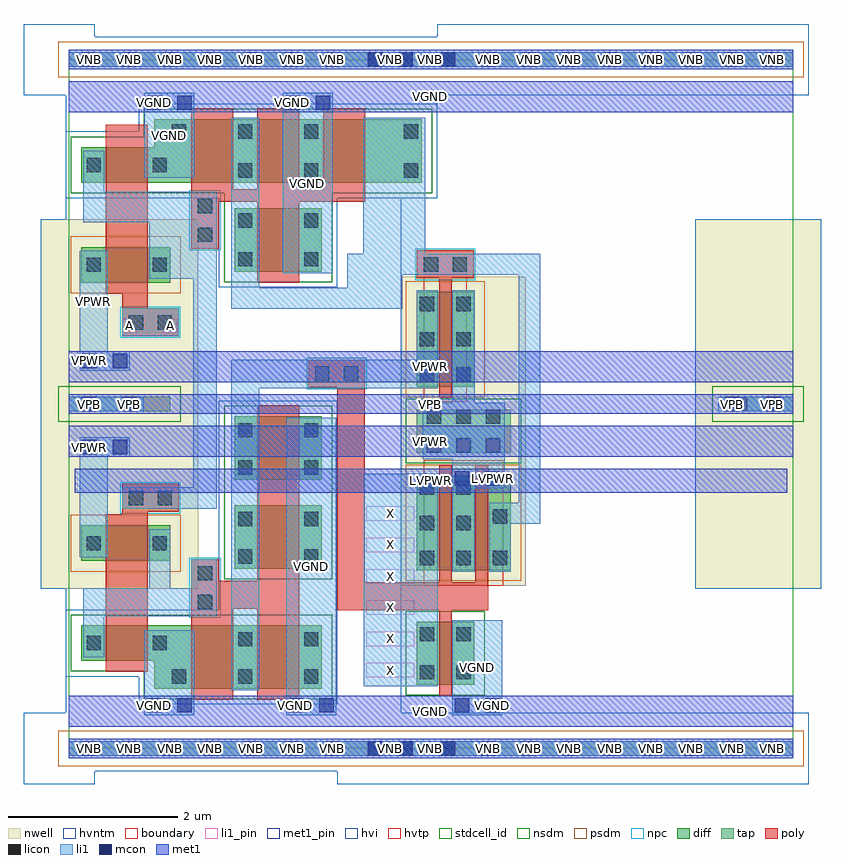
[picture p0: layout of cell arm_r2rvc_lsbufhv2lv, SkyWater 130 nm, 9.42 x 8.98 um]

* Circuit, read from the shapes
.subckt arm_r2rvc_lsbufhv2lv A LVPWR VGND VNB VPB VPWR X
XM1 VGND n1 n2 VNB sky130_fd_pr__nfet_g5v0d10v5 w=0.42 l=0.5
XM2 VGND A n1 VNB sky130_fd_pr__nfet_g5v0d10v5 w=0.42 l=0.5
XM3 n3 n2 VGND VNB sky130_fd_pr__nfet_g5v0d10v5 w=0.75 l=0.5 m=4
XM4 n4 n1 VGND VNB sky130_fd_pr__nfet_g5v0d10v5 w=0.75 l=0.5 m=4
XM5 VGND n3 X VNB sky130_fd_pr__nfet_01v8 w=0.74 l=0.15
XM6 n2 n1 VPWR VPB sky130_fd_pr__pfet_g5v0d10v5 w=0.42 l=0.5
XM7 n1 A VPWR VPB sky130_fd_pr__pfet_g5v0d10v5 w=0.42 l=0.5
XM8 LVPWR n3 X LVPWR sky130_fd_pr__pfet_01v8_hvt w=1.12 l=0.15
XM9 LVPWR n4 n3 LVPWR sky130_fd_pr__pfet_01v8_hvt w=1.12 l=0.15
XM10 n4 n3 LVPWR LVPWR sky130_fd_pr__pfet_01v8_hvt w=1.12 l=0.15
.ends

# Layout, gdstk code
import gdstk
lib = gdstk.Library(unit=1e-6, precision=1e-09)
def R(c, l, rs):  # rectangles x0, y0, x1, y1
    for r in rs: c.add(gdstk.rectangle(r[:2], r[2:], *l))
def A(c, l, x, y, w, h, nx, ny, dx, dy):  # array of equal rectangles
    R(c, l, [(x+i*dx, y+j*dy, x+i*dx+w, y+j*dy+h) for i in range(nx) for j in range(ny)])
nwell = (64, 20)
diff = (65, 20)
tap = (65, 44)
poly = (66, 20)
licon = (66, 44)
li1_pin = (67, 16)
li1 = (67, 20)
mcon = (67, 44)
met1_pin = (68, 16)
met1 = (68, 20)
hvi = (75, 20)
hvtp = (78, 44)
stdcell_id = (81, 4)
nsdm = (93, 44)
psdm = (94, 20)
npc = (95, 20)
hvntm = (125, 20)
boundary = (235, 4)

arm_r2rvc_lsbufhv2lv = lib.new_cell('arm_r2rvc_lsbufhv2lv')
R(arm_r2rvc_lsbufhv2lv, nwell, [(-0.33,1.885,1.53,6.255), (7.4,1.885,8.89,6.255), (3.93,1.925,5.4,5.575)])
R(arm_r2rvc_lsbufhv2lv, diff, [(1.01,0.705,2.99,1.035), (4.11,0.755,4.79,1.495), (0.15,1.035,2.99,1.455), (4.11,2.105,5.22,3.225), (1.96,2.125,2.99,2.875), (0.15,2.215,1.2,2.635), (1.96,3.175,2.99,3.925), (4.11,4.275,4.79,5.395), (0.15,5.505,1.2,5.925), (1.96,5.635,2.99,6.385), (0.15,6.685,4.17,7.105), (1.01,7.105,4.17,7.435)])
R(arm_r2rvc_lsbufhv2lv, tap, [(0,-0.085,8.56,0.085), (4.11,3.495,5.22,4.005), (0,3.985,1.2,4.155), (7.73,3.985,8.56,4.155), (0,8.055,8.56,8.225)])
A(arm_r2rvc_lsbufhv2lv, poly, 1.445, 6.61, 0.5, 0.955, 3, 1, 0.78, 0)
R(arm_r2rvc_lsbufhv2lv, poly, [(1.445,0.575,1.945,1.65), (2.225,0.575,2.725,1.65), (4.375,0.625,4.525,1.635), (0.435,0.905,0.935,2.765), (3.17,1.635,4.955,1.965), (1.445,1.65,2.725,1.98), (3.17,1.965,3.5,4.265), (4.375,1.965,4.525,3.355), (4.805,1.965,4.955,3.355), (1.445,1.98,1.775,2.235), (2.225,1.98,2.725,4.055), (0.63,2.765,0.935,2.795), (0.63,2.795,1.3,3.125), (4.375,4.145,4.525,5.555), (2.83,4.265,3.5,4.595), (0.63,4.87,1.3,5.2), (0.63,5.2,0.935,5.375), (0.435,5.375,0.935,7.37), (2.225,5.505,2.725,6.46), (4.115,5.555,4.785,5.885), (1.445,5.905,1.775,6.46), (1.445,6.46,3.505,6.61)])
A(arm_r2rvc_lsbufhv2lv, licon, 0.155, -0.085, 0.17, 0.17, 7, 2, 0.48, 8.14)
A(arm_r2rvc_lsbufhv2lv, licon, 4.395, -0.085, 0.17, 0.17, 9, 2, 0.48, 8.14)
A(arm_r2rvc_lsbufhv2lv, licon, 1.22, 0.765, 0.17, 0.17, 3, 2, 0.78, 6.44)
A(arm_r2rvc_lsbufhv2lv, licon, 4.15, 2.165, 0.17, 0.17, 3, 1, 0.43, 0)
A(arm_r2rvc_lsbufhv2lv, licon, 4.23, 3.495, 0.17, 0.17, 3, 2, 0.35, 0.34)
A(arm_r2rvc_lsbufhv2lv, licon, 4.15, 4.335, 0.17, 0.17, 1, 3, 0, 0.415)
A(arm_r2rvc_lsbufhv2lv, licon, 4.58, 4.335, 0.17, 0.17, 1, 3, 0, 0.415)
R(arm_r2rvc_lsbufhv2lv, licon, [(3.545,-0.085,3.715,0.085), (3.885,-0.085,4.055,0.085), (4.15,0.815,4.32,0.985), (4.58,0.815,4.75,0.985), (0.21,1.16,0.38,1.33), (0.99,1.16,1.16,1.33), (2,1.205,2.17,1.375), (2.78,1.205,2.95,1.375), (4.15,1.265,4.32,1.435), (4.58,1.265,4.75,1.435), (1.525,1.645,1.695,1.815), (1.525,1.985,1.695,2.155), (2,2.185,2.17,2.355), (2.78,2.185,2.95,2.355), (0.21,2.34,0.38,2.51), (0.99,2.34,1.16,2.51), (4.15,2.58,4.32,2.75), (4.58,2.58,4.75,2.75), (2,2.625,2.17,2.795), (2.78,2.625,2.95,2.795), (5.01,2.655,5.18,2.825), (0.71,2.875,0.88,3.045), (1.05,2.875,1.22,3.045), (4.15,2.995,4.32,3.165), (4.58,2.995,4.75,3.165), (2,3.235,2.17,3.405), (2.78,3.235,2.95,3.405), (2,3.675,2.17,3.845), (2.78,3.675,2.95,3.845), (0.155,3.985,0.325,4.155), (0.635,3.985,0.805,4.155), (7.85,3.985,8.02,4.155), (8.235,3.985,8.405,4.155), (2.91,4.345,3.08,4.515), (3.25,4.345,3.42,4.515), (0.71,4.95,0.88,5.12), (1.05,4.95,1.22,5.12), (0.21,5.63,0.38,5.8), (0.99,5.63,1.16,5.8), (4.195,5.635,4.365,5.805), (4.535,5.635,4.705,5.805), (2,5.695,2.17,5.865), (2.78,5.695,2.95,5.865), (1.525,5.985,1.695,6.155), (2,6.155,2.17,6.325), (2.78,6.155,2.95,6.325), (1.525,6.325,1.695,6.495), (2,6.745,2.17,6.915), (2.78,6.745,2.95,6.915), (3.96,6.745,4.13,6.915), (0.21,6.81,0.38,6.98), (0.99,6.81,1.16,6.98), (3.96,7.205,4.13,7.375), (3.545,8.055,3.715,8.225), (3.885,8.055,4.055,8.225)])
A(arm_r2rvc_lsbufhv2lv, li1_pin, 3.515, 0.84, 0.57, 0.17, 1, 6, 0, 0.37)
R(arm_r2rvc_lsbufhv2lv, li1_pin, [(2.57,0.395,3.16,3.91), (4.53,0.395,5.12,1.515), (7.675,3.985,8.56,4.155), (0.13,4.465,0.72,4.695), (0.13,4.695,0.46,5.88), (0.635,4.91,0.805,5.08), (1.115,4.91,1.285,5.08), (2.53,5.615,3.12,7.745), (0.895,6.745,1.485,7.745), (0,8.055,8.56,8.225)])
R(arm_r2rvc_lsbufhv2lv, li1, [(0,-0.085,8.56,0.085), (0.895,0.395,1.485,1.395), (2.57,0.395,3.16,3.91), (4.53,0.395,5.12,1.515), (1.92,0.685,2.25,4.255), (3.485,0.735,4.36,3.245), (0.17,1.08,0.42,1.565), (0.17,1.565,1.75,1.895), (0.95,1.895,1.2,2.59), (1.445,1.895,1.75,2.235), (4.53,2.085,4.8,3.075), (4.97,2.085,5.22,2.655), (0.13,2.26,0.46,3.445), (4.97,2.655,5.57,2.905), (0.63,2.835,1.75,3.085), (5.32,2.905,5.57,5.595), (4.53,3.075,5.15,3.415), (1.47,3.085,1.75,5.55), (4.18,3.415,5.15,4.085), (0.13,3.445,0.72,3.675), (0,3.985,0.885,4.155), (7.675,3.985,8.56,4.155), (4.53,4.085,4.8,5.415), (1.92,4.255,4.36,4.595), (0.13,4.465,0.72,4.695), (4.11,4.595,4.36,5.415), (0.13,4.695,0.46,5.88), (0.63,4.87,1.3,5.2), (1.92,5.195,3.94,5.445), (1.92,5.445,2.25,7.455), (3.29,5.445,3.94,5.595), (0.95,5.55,1.75,6.22), (3.29,5.595,5.57,5.845), (2.53,5.615,3.12,7.745), (3.48,5.845,4.21,7.455), (0.17,6.22,1.75,6.575), (0.17,6.575,0.42,7.06), (0.895,6.745,1.485,7.745), (0,8.055,8.56,8.225)])
A(arm_r2rvc_lsbufhv2lv, mcon, 0.155, -0.085, 0.17, 0.17, 7, 2, 0.48, 8.14)
A(arm_r2rvc_lsbufhv2lv, mcon, 4.395, -0.085, 0.17, 0.17, 9, 2, 0.48, 8.14)
R(arm_r2rvc_lsbufhv2lv, mcon, [(3.535,-0.085,3.705,0.085), (3.895,-0.085,4.065,0.085), (0.925,0.425,1.095,0.595), (1.285,0.425,1.455,0.595), (2.6,0.425,2.77,0.595), (2.96,0.425,3.13,0.595), (4.56,0.425,4.73,0.595), (4.92,0.425,5.09,0.595), (4.56,3.105,4.73,3.275), (4.92,3.105,5.09,3.275), (0.16,3.475,0.33,3.645), (0.52,3.475,0.69,3.645), (0.155,3.985,0.325,4.155), (0.635,3.985,0.805,4.155), (7.755,3.985,7.925,4.155), (8.235,3.985,8.405,4.155), (0.16,4.495,0.33,4.665), (0.52,4.495,0.69,4.665), (0.925,7.545,1.095,7.715), (1.285,7.545,1.455,7.715), (2.56,7.545,2.73,7.715), (2.92,7.545,3.09,7.715), (3.535,8.055,3.705,8.225), (3.895,8.055,4.065,8.225)])
A(arm_r2rvc_lsbufhv2lv, met1_pin, 0.155, -0.085, 0.17, 0.17, 7, 2, 0.48, 8.14)
A(arm_r2rvc_lsbufhv2lv, met1_pin, 4.395, -0.085, 0.17, 0.17, 9, 2, 0.48, 8.14)
R(arm_r2rvc_lsbufhv2lv, met1_pin, [(0,-0.115,8.56,0.115), (3.515,-0.085,4.085,0.085), (0,0,8.56,0.115), (0,0.255,8.56,0.625), (0,0.255,8.56,0.625), (0.925,0.425,1.095,0.595), (1.285,0.425,1.455,0.595), (2.6,0.425,2.77,0.595), (2.96,0.425,3.13,0.595), (4.56,0.425,4.73,0.595), (4.92,0.425,5.09,0.595), (0.07,3.02,8.49,3.305), (0.07,3.02,8.49,3.305), (4.56,3.105,4.73,3.275), (4.92,3.105,5.09,3.275), (0,3.445,8.56,3.815), (0,3.445,8.56,3.815), (0.16,3.475,0.33,3.645), (0.52,3.475,0.69,3.645), (0,3.955,8.56,4.185), (0,3.955,8.56,4.185), (0.155,3.985,0.325,4.155), (0.635,3.985,0.805,4.155), (7.755,3.985,7.925,4.155), (8.235,3.985,8.405,4.155), (0,4.325,8.56,4.695), (0,4.325,8.56,4.695), (0.16,4.495,0.33,4.665), (0.52,4.495,0.69,4.665), (0,7.515,8.56,7.885), (0,7.515,8.56,7.885), (0.925,7.545,1.095,7.715), (1.285,7.545,1.455,7.715), (2.56,7.545,2.73,7.715), (2.92,7.545,3.09,7.715), (0,8.025,8.56,8.255), (0,8.025,8.56,8.14), (3.515,8.055,4.085,8.225)])
A(arm_r2rvc_lsbufhv2lv, met1, 0, -0.115, 8.56, 0.23, 1, 3, 0, 4.07)
R(arm_r2rvc_lsbufhv2lv, met1, [(0,0.255,8.56,0.625), (0.07,3.02,8.49,3.305), (0,3.445,8.56,3.815), (0,4.325,8.56,4.695), (0,7.515,8.56,7.885)])
R(arm_r2rvc_lsbufhv2lv, hvi, [(-0.53,-0.42,0.31,-0.27), (3.175,-0.42,8.745,-0.27), (-0.53,-0.27,8.745,0.42), (-0.035,0.42,3.93,1.885), (-0.33,1.885,3.93,6.255), (7.4,1.885,8.89,6.255), (-0.035,6.255,3.93,6.5), (-0.035,6.5,4.355,7.72), (-0.53,7.72,8.745,8.41), (-0.53,8.41,0.31,8.56), (4.355,8.41,8.745,8.56)])
R(arm_r2rvc_lsbufhv2lv, hvtp, [(4.195,1.925,5.135,3.405), (4.195,4.095,4.705,5.575)])
R(arm_r2rvc_lsbufhv2lv, stdcell_id, [(0,0,8.56,8.14)])
R(arm_r2rvc_lsbufhv2lv, nsdm, [(0.885,0.58,3.115,0.91), (3.985,0.63,4.915,1.62), (0.025,0.91,3.115,1.58), (1.835,2,3.115,4.05), (3.985,3.37,5.345,4.13), (-0.125,3.86,1.325,4.28), (7.605,3.86,8.685,4.28), (1.835,5.51,3.115,6.56), (0.025,6.56,4.295,7.23), (0.885,7.23,4.295,7.56)])
R(arm_r2rvc_lsbufhv2lv, psdm, [(-0.125,-0.21,8.685,0.21), (3.985,1.98,5.345,3.35), (0.025,2.09,1.325,2.76), (3.985,4.15,4.915,5.52), (0.025,5.38,1.325,6.05), (-0.125,7.93,8.685,8.35)])
R(arm_r2rvc_lsbufhv2lv, npc, [(1.425,1.545,1.795,2.255), (0.61,2.775,1.32,3.145), (2.81,4.245,3.52,4.615), (0.61,4.85,1.32,5.22), (4.095,5.535,4.805,5.905), (1.425,5.885,1.795,6.595)])
R(arm_r2rvc_lsbufhv2lv, hvntm, [(0.825,0.52,3.175,0.85), (-0.035,0.85,3.175,1.64), (1.775,1.64,3.175,4.11), (1.775,5.45,3.175,6.5), (-0.035,6.5,4.355,7.29), (0.825,7.29,4.355,7.62)])
R(arm_r2rvc_lsbufhv2lv, boundary, [(0,0,8.56,8.14)])
arm_r2rvc_lsbufhv2lv.add(gdstk.Label('A', (1.2,4.995), layer=67, texttype=5))
arm_r2rvc_lsbufhv2lv.add(gdstk.Label('A', (0.72,4.995), layer=67, texttype=5))
arm_r2rvc_lsbufhv2lv.add(gdstk.Label('LVPWR', (4.28,3.162), layer=68, texttype=5))
arm_r2rvc_lsbufhv2lv.add(gdstk.Label('LVPWR', (4.645,3.19), layer=68, texttype=5))
arm_r2rvc_lsbufhv2lv.add(gdstk.Label('LVPWR', (5.005,3.19), layer=68, texttype=5))
arm_r2rvc_lsbufhv2lv.add(gdstk.Label('LVPWR', (4.28,3.162), layer=68, texttype=5))
arm_r2rvc_lsbufhv2lv.add(gdstk.Label('VGND', (4.28,7.7), layer=68, texttype=5))
arm_r2rvc_lsbufhv2lv.add(gdstk.Label('VGND', (4.28,0.44), layer=68, texttype=5))
arm_r2rvc_lsbufhv2lv.add(gdstk.Label('VGND', (1.01,0.51), layer=68, texttype=5))
arm_r2rvc_lsbufhv2lv.add(gdstk.Label('VGND', (1.01,7.63), layer=68, texttype=5))
arm_r2rvc_lsbufhv2lv.add(gdstk.Label('VGND', (1.37,0.51), layer=68, texttype=5))
arm_r2rvc_lsbufhv2lv.add(gdstk.Label('VGND', (1.37,7.63), layer=68, texttype=5))
arm_r2rvc_lsbufhv2lv.add(gdstk.Label('VGND', (2.645,7.63), layer=68, texttype=5))
arm_r2rvc_lsbufhv2lv.add(gdstk.Label('VGND', (2.685,0.51), layer=68, texttype=5))
arm_r2rvc_lsbufhv2lv.add(gdstk.Label('VGND', (3.005,7.63), layer=68, texttype=5))
arm_r2rvc_lsbufhv2lv.add(gdstk.Label('VGND', (3.045,0.51), layer=68, texttype=5))
arm_r2rvc_lsbufhv2lv.add(gdstk.Label('VGND', (4.645,0.51), layer=68, texttype=5))
arm_r2rvc_lsbufhv2lv.add(gdstk.Label('VGND', (5.005,0.51), layer=68, texttype=5))
arm_r2rvc_lsbufhv2lv.add(gdstk.Label('VGND', (4.825,0.955), layer=67, texttype=5))
arm_r2rvc_lsbufhv2lv.add(gdstk.Label('VGND', (2.865,2.152), layer=67, texttype=5))
arm_r2rvc_lsbufhv2lv.add(gdstk.Label('VGND', (2.825,6.68), layer=67, texttype=5))
arm_r2rvc_lsbufhv2lv.add(gdstk.Label('VGND', (1.19,7.245), layer=67, texttype=5))
arm_r2rvc_lsbufhv2lv.add(gdstk.Label('VGND', (4.28,0.44), layer=68, texttype=5))
arm_r2rvc_lsbufhv2lv.add(gdstk.Label('VGND', (4.28,7.7), layer=68, texttype=5))
arm_r2rvc_lsbufhv2lv.add(gdstk.Label('VNB', (4.28,8.14), layer=68, texttype=5))
arm_r2rvc_lsbufhv2lv.add(gdstk.Label('VNB', (4.28,0), layer=68, texttype=5))
arm_r2rvc_lsbufhv2lv.add(gdstk.Label('VNB', (0.24,0), layer=68, texttype=5))
arm_r2rvc_lsbufhv2lv.add(gdstk.Label('VNB', (0.24,8.14), layer=68, texttype=5))
arm_r2rvc_lsbufhv2lv.add(gdstk.Label('VNB', (0.72,0), layer=68, texttype=5))
arm_r2rvc_lsbufhv2lv.add(gdstk.Label('VNB', (0.72,8.14), layer=68, texttype=5))
arm_r2rvc_lsbufhv2lv.add(gdstk.Label('VNB', (1.2,0), layer=68, texttype=5))
arm_r2rvc_lsbufhv2lv.add(gdstk.Label('VNB', (1.2,8.14), layer=68, texttype=5))
arm_r2rvc_lsbufhv2lv.add(gdstk.Label('VNB', (1.68,0), layer=68, texttype=5))
arm_r2rvc_lsbufhv2lv.add(gdstk.Label('VNB', (1.68,8.14), layer=68, texttype=5))
arm_r2rvc_lsbufhv2lv.add(gdstk.Label('VNB', (2.16,0), layer=68, texttype=5))
arm_r2rvc_lsbufhv2lv.add(gdstk.Label('VNB', (2.16,8.14), layer=68, texttype=5))
arm_r2rvc_lsbufhv2lv.add(gdstk.Label('VNB', (2.64,0), layer=68, texttype=5))
arm_r2rvc_lsbufhv2lv.add(gdstk.Label('VNB', (2.64,8.14), layer=68, texttype=5))
arm_r2rvc_lsbufhv2lv.add(gdstk.Label('VNB', (3.12,0), layer=68, texttype=5))
arm_r2rvc_lsbufhv2lv.add(gdstk.Label('VNB', (3.12,8.14), layer=68, texttype=5))
arm_r2rvc_lsbufhv2lv.add(gdstk.Label('VNB', (3.8,0), layer=68, texttype=5))
arm_r2rvc_lsbufhv2lv.add(gdstk.Label('VNB', (3.8,8.14), layer=68, texttype=5))
arm_r2rvc_lsbufhv2lv.add(gdstk.Label('VNB', (4.48,0), layer=68, texttype=5))
arm_r2rvc_lsbufhv2lv.add(gdstk.Label('VNB', (4.48,8.14), layer=68, texttype=5))
arm_r2rvc_lsbufhv2lv.add(gdstk.Label('VNB', (4.96,0), layer=68, texttype=5))
arm_r2rvc_lsbufhv2lv.add(gdstk.Label('VNB', (4.96,8.14), layer=68, texttype=5))
arm_r2rvc_lsbufhv2lv.add(gdstk.Label('VNB', (5.44,0), layer=68, texttype=5))
arm_r2rvc_lsbufhv2lv.add(gdstk.Label('VNB', (5.44,8.14), layer=68, texttype=5))
arm_r2rvc_lsbufhv2lv.add(gdstk.Label('VNB', (5.92,0), layer=68, texttype=5))
arm_r2rvc_lsbufhv2lv.add(gdstk.Label('VNB', (5.92,8.14), layer=68, texttype=5))
arm_r2rvc_lsbufhv2lv.add(gdstk.Label('VNB', (6.4,0), layer=68, texttype=5))
arm_r2rvc_lsbufhv2lv.add(gdstk.Label('VNB', (6.4,8.14), layer=68, texttype=5))
arm_r2rvc_lsbufhv2lv.add(gdstk.Label('VNB', (6.88,0), layer=68, texttype=5))
arm_r2rvc_lsbufhv2lv.add(gdstk.Label('VNB', (6.88,8.14), layer=68, texttype=5))
arm_r2rvc_lsbufhv2lv.add(gdstk.Label('VNB', (7.36,0), layer=68, texttype=5))
arm_r2rvc_lsbufhv2lv.add(gdstk.Label('VNB', (7.36,8.14), layer=68, texttype=5))
arm_r2rvc_lsbufhv2lv.add(gdstk.Label('VNB', (7.84,0), layer=68, texttype=5))
arm_r2rvc_lsbufhv2lv.add(gdstk.Label('VNB', (7.84,8.14), layer=68, texttype=5))
arm_r2rvc_lsbufhv2lv.add(gdstk.Label('VNB', (8.32,0), layer=68, texttype=5))
arm_r2rvc_lsbufhv2lv.add(gdstk.Label('VNB', (8.32,8.14), layer=68, texttype=5))
arm_r2rvc_lsbufhv2lv.add(gdstk.Label('VNB', (4.28,8.14), layer=67, texttype=5))
arm_r2rvc_lsbufhv2lv.add(gdstk.Label('VNB', (4.28,8.082), layer=68, texttype=5))
arm_r2rvc_lsbufhv2lv.add(gdstk.Label('VNB', (4.28,0.057), layer=68, texttype=5))
arm_r2rvc_lsbufhv2lv.add(gdstk.Label('VPB', (4.28,4.07), layer=68, texttype=5))
arm_r2rvc_lsbufhv2lv.add(gdstk.Label('VPB', (0.24,4.07), layer=68, texttype=5))
arm_r2rvc_lsbufhv2lv.add(gdstk.Label('VPB', (0.72,4.07), layer=68, texttype=5))
arm_r2rvc_lsbufhv2lv.add(gdstk.Label('VPB', (7.84,4.07), layer=68, texttype=5))
arm_r2rvc_lsbufhv2lv.add(gdstk.Label('VPB', (8.32,4.07), layer=68, texttype=5))
arm_r2rvc_lsbufhv2lv.add(gdstk.Label('VPB', (8.117,4.07), layer=67, texttype=5))
arm_r2rvc_lsbufhv2lv.add(gdstk.Label('VPB', (4.28,4.07), layer=68, texttype=5))
arm_r2rvc_lsbufhv2lv.add(gdstk.Label('VPWR', (4.28,4.51), layer=68, texttype=5))
arm_r2rvc_lsbufhv2lv.add(gdstk.Label('VPWR', (4.28,3.63), layer=68, texttype=5))
arm_r2rvc_lsbufhv2lv.add(gdstk.Label('VPWR', (0.245,3.56), layer=68, texttype=5))
arm_r2rvc_lsbufhv2lv.add(gdstk.Label('VPWR', (0.245,4.58), layer=68, texttype=5))
arm_r2rvc_lsbufhv2lv.add(gdstk.Label('VPWR', (0.605,3.56), layer=68, texttype=5))
arm_r2rvc_lsbufhv2lv.add(gdstk.Label('VPWR', (0.605,4.58), layer=68, texttype=5))
arm_r2rvc_lsbufhv2lv.add(gdstk.Label('VPWR', (0.425,4.58), layer=67, texttype=5))
arm_r2rvc_lsbufhv2lv.add(gdstk.Label('VPWR', (0.295,5.287), layer=67, texttype=5))
arm_r2rvc_lsbufhv2lv.add(gdstk.Label('VPWR', (4.28,4.51), layer=68, texttype=5))
arm_r2rvc_lsbufhv2lv.add(gdstk.Label('VPWR', (4.28,3.63), layer=68, texttype=5))
arm_r2rvc_lsbufhv2lv.add(gdstk.Label('X', (3.8,2.035), layer=67, texttype=5))
arm_r2rvc_lsbufhv2lv.add(gdstk.Label('X', (3.8,2.405), layer=67, texttype=5))
arm_r2rvc_lsbufhv2lv.add(gdstk.Label('X', (3.8,2.775), layer=67, texttype=5))
arm_r2rvc_lsbufhv2lv.add(gdstk.Label('X', (3.8,1.295), layer=67, texttype=5))
arm_r2rvc_lsbufhv2lv.add(gdstk.Label('X', (3.8,0.925), layer=67, texttype=5))
arm_r2rvc_lsbufhv2lv.add(gdstk.Label('X', (3.8,1.665), layer=67, texttype=5))

lib.write_gds('arm_r2rvc_lsbufhv2lv.gds')
